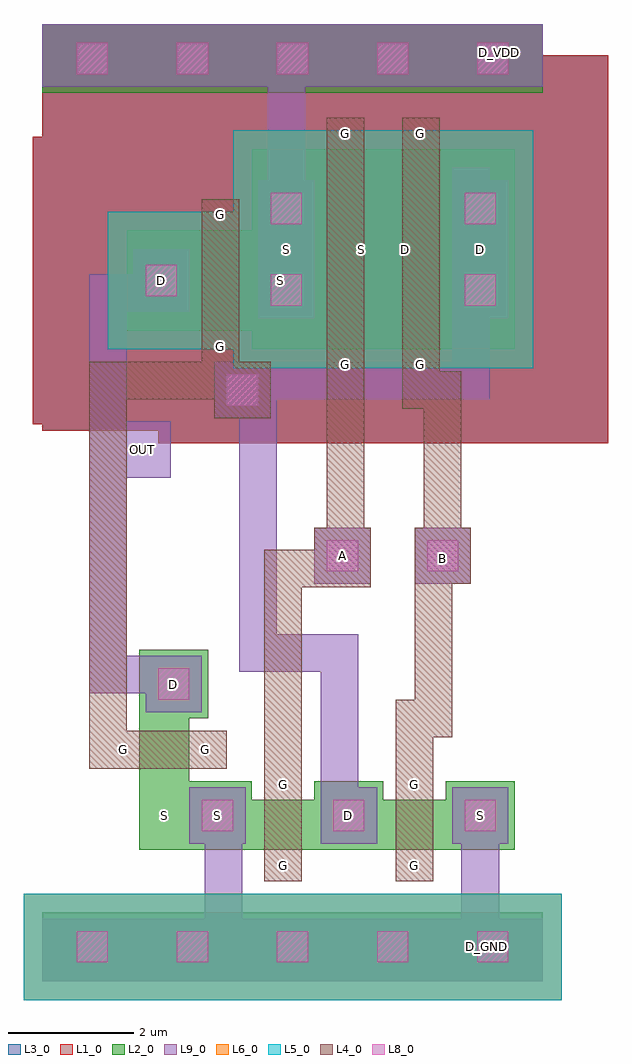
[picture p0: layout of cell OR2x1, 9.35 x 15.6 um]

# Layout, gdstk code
import gdstk
lib = gdstk.Library(unit=1e-6, precision=1e-09)
def R(c, l, rs):  # rectangles x0, y0, x1, y1
    for r in rs: c.add(gdstk.rectangle(r[:2], r[2:], *l))
L1_0 = (1, 0)
L2_0 = (2, 0)
L3_0 = (3, 0)
L4_0 = (4, 0)
L5_0 = (5, 0)
L6_0 = (6, 0)
L8_0 = (8, 0)
L9_0 = (9, 0)

gridx1 = lib.new_cell('GRIDX1')
R(gridx1, L1_0, [(0,8.8,1.6,15.3)])
R(gridx1, L2_0, [(0,0,1.6,1.1), (0,14.2,1.6,15.3)])
R(gridx1, L3_0, [(0,8.8,1.6,15.3)])
R(gridx1, L5_0, [(0,-0.3,1.6,1.4)])
R(gridx1, L6_0, [(0,-0.3,1.6,1.4)])
R(gridx1, L8_0, [(0.55,0.3,1.05,0.8), (0.55,14.5,1.05,15)])
R(gridx1, L9_0, [(0,0,1.6,1), (0,14.3,1.6,15.3)])

or2x1 = lib.new_cell('OR2x1')
R(or2x1, L1_0, [(1.85,8.6,7.85,14.8), (3.05,8.6,9.05,14.8), (0,8.8,1.6,15.3), (6.4,8.8,8,15.3), (-0.15,8.9,5.85,13.5)])
R(or2x1, L2_0, [(0,0,1.6,1.1), (6.4,0,8,1.1), (1.55,2.1,2.35,3.2), (2.25,2.1,3.35,3.2), (3.35,2.1,4.35,2.9), (4.35,2.1,5.45,3.2), (4.35,2.1,5.45,3.2), (5.45,2.1,6.45,2.9), (6.45,2.1,7.55,3.2), (1.55,3.2,2.35,4.2), (1.55,4.2,2.65,5.3), (3.35,10.1,4.45,13.3), (4.45,10.1,5.25,13.3), (4.55,10.1,5.65,13.3), (5.25,10.1,6.35,13.3), (5.65,10.1,6.45,13.3), (6.45,10.1,7.55,13.3), (1.35,10.4,2.45,12), (2.45,10.4,3.25,12), (3.25,10.4,4.35,12), (0,14.2,1.6,15.3), (6.4,14.2,8,15.3), (1,14.7,1.6,15.3), (6.4,14.7,6.75,15.3)])
R(or2x1, L3_0, [(1.85,8.6,7.85,14.8), (3.05,8.6,9.05,14.8), (0,8.8,1.6,15.3), (6.4,8.8,8,15.3), (-0.15,8.9,5.85,13.5)])
R(or2x1, L4_0, [(3.55,1.6,4.15,3.4), (3.55,1.6,4.15,2.1), (5.65,1.6,6.25,3.4), (5.65,1.6,6.25,2.1), (3.55,2.9,4.15,3.4), (5.65,2.9,6.25,3.4), (1.05,3.4,2.85,4), (1.05,3.4,1.55,4), (2.35,3.4,2.85,4), (4.35,6.35,5.25,7.25), (5.95,6.35,6.85,7.25), (2.75,9,3.65,9.9), (4.55,9.6,5.15,10.1), (4.55,9.6,5.15,13.8), (5.75,9.6,6.35,10.1), (5.75,9.6,6.35,13.8), (2.55,9.9,3.15,10.4), (2.55,9.9,3.15,12.5), (2.55,12,3.15,12.5), (4.55,13.3,5.15,13.8), (5.75,13.3,6.35,13.8)])
R(or2x1, L5_0, [(-0.3,-0.3,1.6,1.4), (6.4,-0.3,8.3,1.4), (3.05,9.8,6.65,13.6), (4.25,9.8,7.85,13.6), (1.05,10.1,4.65,12.3)])
R(or2x1, L6_0, [(-0.3,-0.3,1.6,1.4), (6.4,-0.3,8.3,1.4), (3.05,9.8,6.65,13.6), (4.25,9.8,7.85,13.6), (1.05,10.1,4.65,12.3)])
R(or2x1, L8_0, [(0.55,0.3,1.05,0.8), (6.95,0.3,7.45,0.8), (2.55,2.4,3.05,2.9), (4.65,2.4,5.15,2.9), (4.65,2.4,5.15,2.9), (6.75,2.4,7.25,2.9), (1.85,4.5,2.35,5), (4.55,6.55,5.05,7.05), (6.15,6.55,6.65,7.05), (2.95,9.2,3.45,9.7), (3.65,10.8,4.15,11.3), (6.75,10.8,7.25,11.3), (1.65,10.95,2.15,11.45), (3.65,12.1,4.15,12.6), (6.75,12.1,7.25,12.6), (0.55,14.5,1.05,15), (6.95,14.5,7.45,15)])
R(or2x1, L9_0, [(0,0,1.6,1), (6.4,0,8,1), (6.8,0.25,7.4,0.85), (2.35,2.2,3.25,3.1), (4.45,2.2,5.35,3.1), (4.45,2.2,5.35,3.1), (6.55,2.2,7.45,3.1), (1.65,4.3,2.55,5.2), (4.35,6.35,5.25,7.25), (5.95,6.35,6.85,7.25), (6.1,6.45,6.7,7.05), (4.5,6.5,5.1,7.1), (1.15,8.05,2.05,8.95), (1.3,8.2,1.9,8.8), (2.75,9,3.65,9.9), (3.45,10.6,4.35,12.8), (6.55,10.6,7.45,12.8), (1.45,10.7,2.35,11.7), (0,14.3,1.6,15.3), (6.4,14.3,8,15.3), (7,14.55,7.6,15.15)])
or2x1.add(gdstk.FlexPath([(3.9,11.3),(3.9,14.75)], 0.6, ends="flush", simple_path=True, layer=9, datatype=0))  # L9_0
or2x1.add(gdstk.FlexPath([(2.35,4.9),(1.05,4.9),(1.05,11),(2.35,11)], 0.6, ends="flush", simple_path=True, layer=9, datatype=0))  # L9_0
or2x1.add(gdstk.FlexPath([(1.95,14.75),(7.2,14.75)], 0.6, ends="flush", simple_path=True, layer=9, datatype=0))  # L9_0
or2x1.add(gdstk.FlexPath([(2.9,2.85),(2.9,0.5)], 0.6, ends="flush", simple_path=True, layer=9, datatype=0))  # L9_0
or2x1.add(gdstk.FlexPath([(7,2.8),(7,0.45)], 0.6, ends="flush", simple_path=True, layer=9, datatype=0))  # L9_0
or2x1.add(gdstk.FlexPath([(6.85,13),(6.85,9.6),(3.45,9.6),(3.45,5.25),(4.75,5.25),(4.75,2.2)], 0.6, ends="flush", simple_path=True, layer=9, datatype=0))  # L9_0
or2x1.add(gdstk.FlexPath([(3.85,2.9),(3.85,6.6),(5.25,6.6)], 0.6, ends="flush", simple_path=True, layer=4, datatype=0))  # L4_0
or2x1.add(gdstk.FlexPath([(4.85,13.7),(4.85,6.35)], 0.6, ends="flush", simple_path=True, layer=4, datatype=0))  # L4_0
or2x1.add(gdstk.FlexPath([(5.95,2.1),(5.95,4.2),(6.25,4.2),(6.25,7.25)], 0.6, ends="flush", simple_path=True, layer=4, datatype=0))  # L4_0
or2x1.add(gdstk.FlexPath([(6.05,13.7),(6.05,9.45),(6.4,9.45),(6.4,6.35)], 0.6, ends="flush", simple_path=True, layer=4, datatype=0))  # L4_0
or2x1.add(gdstk.FlexPath([(2.85,12.4),(2.85,9.6),(1.05,9.6),(1.05,3.7),(2.95,3.7)], 0.6, ends="flush", simple_path=True, layer=4, datatype=0))  # L4_0
or2x1.add(gdstk.FlexPath([(1.6,15),(6.4,15)], 0.6, ends="flush", simple_path=True, layer=2, datatype=0))  # L2_0
or2x1.add(gdstk.Reference(gridx1, (4.8,0)))
or2x1.add(gdstk.Reference(gridx1, (3.2,0)))
or2x1.add(gdstk.Reference(gridx1, (1.6,0)))
or2x1.add(gdstk.Label('G', (3.85,1.852), layer=4, texttype=0))
or2x1.add(gdstk.Label('G', (3.85,3.152), layer=4, texttype=0))
or2x1.add(gdstk.Label('S', (2.799,2.651), layer=9, texttype=0))
or2x1.add(gdstk.Label('D', (4.899,2.651), layer=9, texttype=0))
or2x1.add(gdstk.Label('G', (5.95,1.852), layer=4, texttype=0))
or2x1.add(gdstk.Label('G', (5.95,3.152), layer=4, texttype=0))
or2x1.add(gdstk.Label('S', (7.001,2.651), layer=9, texttype=0))
or2x1.add(gdstk.Label('D', (4.901,2.651), layer=9, texttype=0))
or2x1.add(gdstk.Label('G', (6.05,9.852), layer=4, texttype=0))
or2x1.add(gdstk.Label('G', (6.05,13.552), layer=4, texttype=0))
or2x1.add(gdstk.Label('S', (5.099,11.701), layer=2, texttype=0))
or2x1.add(gdstk.Label('D', (6.999,11.701), layer=9, texttype=0))
or2x1.add(gdstk.Label('G', (2.85,10.152), layer=4, texttype=0))
or2x1.add(gdstk.Label('G', (2.85,12.252), layer=4, texttype=0))
or2x1.add(gdstk.Label('S', (3.801,11.201), layer=2, texttype=0))
or2x1.add(gdstk.Label('D', (1.901,11.201), layer=9, texttype=0))
or2x1.add(gdstk.Label('G', (1.302,3.7), layer=4, texttype=0))
or2x1.add(gdstk.Label('G', (2.602,3.7), layer=4, texttype=0))
or2x1.add(gdstk.Label('S', (1.951,2.649), layer=2, texttype=0))
or2x1.add(gdstk.Label('D', (2.101,4.749), layer=9, texttype=0))
or2x1.add(gdstk.Label('G', (4.85,9.852), layer=4, texttype=0))
or2x1.add(gdstk.Label('G', (4.85,13.552), layer=4, texttype=0))
or2x1.add(gdstk.Label('S', (3.899,11.701), layer=9, texttype=0))
or2x1.add(gdstk.Label('D', (5.799,11.701), layer=2, texttype=0))
or2x1.add(gdstk.Label('OUT', (1.6,8.5), layer=50, texttype=0))
or2x1.add(gdstk.Label('D_VDD', (7.3,14.85), layer=50, texttype=0))
or2x1.add(gdstk.Label('D_GND', (7.1,0.55), layer=50, texttype=0))
or2x1.add(gdstk.Label('A', (4.8,6.8), layer=50, texttype=0))
or2x1.add(gdstk.Label('B', (6.4,6.75), layer=50, texttype=0))

lib.write_gds('OR2x1.gds')
